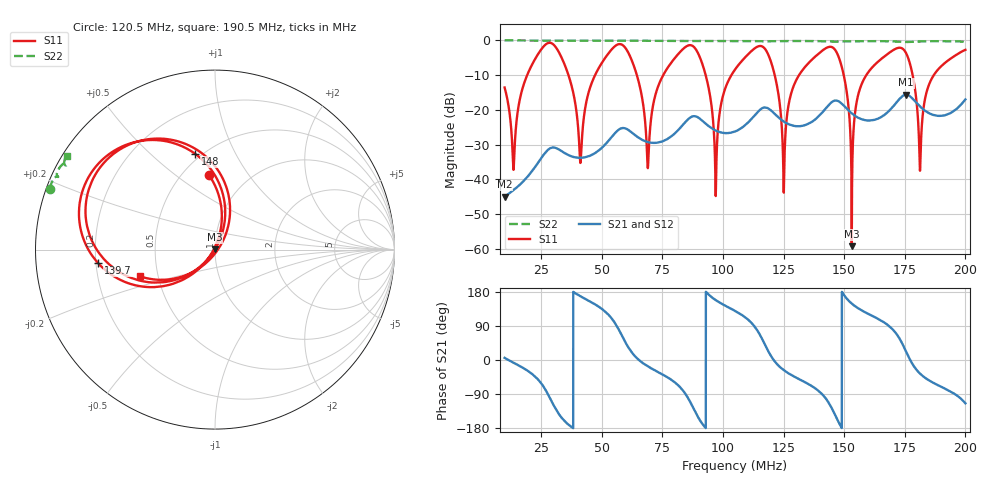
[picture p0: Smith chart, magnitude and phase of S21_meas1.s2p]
# Hz S DB R 50
! CMT, S5243, 23023023, 22.3.3/5
! Date: 6/29/2023 10:12:38 AM
! Data: Format (Calibration Info)
! Freq	S11:dB/Ang(F2)	S21:dB/Ang(F2)	S12:dB/Ang(F2)	S22:dB/Ang(F2)
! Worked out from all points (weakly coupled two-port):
!   5001 points, 10 MHz to 200 MHz, reference 50 ohm
!   highest |S21| = -15.63 dB at 175.5 MHz (marker M1); lowest = -44.9 dB at 10 MHz (marker M2)
!   lowest |S11| = -59.2 dB at 153.1 MHz (marker M3), VSWR 1.00, Z = 49.9 + j0.0922 ohm
!   |S11| at or under -10 dB: 36.34 MHz to 47.28 MHz (10.94 MHz wide, 26.2 % of centre); 64.54 MHz to 75.38 MHz (10.84 MHz wide, 15.5 % of centre); 92.91 MHz to 103.5 MHz (10.58 MHz wide, 10.8 % of centre) (the widest 3 of 7)
!   |S22| runs from -0.4 to 0.0 dB; largest |S21 - S12| = 0.0014
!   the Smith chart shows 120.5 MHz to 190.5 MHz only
!   S11 on the Smith chart (normalised r, x): 120.5 MHz: 0.66, +0.67; 139.7 MHz: 0.21, -0.06; 148 MHz: 0.46, +0.70; 190.5 MHz: 0.40, -0.15
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1e7  -13.54 104.4  -44.94 5.8  -44.96 5.8  0.01 178.2
1.3762e7  -36.65 -162.2  -43.01 -7.5  -43.05 -7.5  0.00 177.6
2.976e7  -0.95 159.7  -30.80 -113.8  -30.81 -113.6  -0.02 174.8
4.1692e7  -30.63 -136.5  -33.76 166.7  -33.77 166.7  -0.04 172.8
5.5714e7  -1.52 -172.9  -26.52 95.4  -26.56 95.5  -0.07 170.3
6.9014e7  -36.62 155.6  -29.23 -16.6  -29.21 -16.6  -0.08 168.1
7.3346e7  -13.12 -124.4  -29.36 -32.0  -29.36 -32.2  -0.08 167.3
8.8318e7  -2.05 137.9  -21.79 -133.2  -21.86 -133.0  -0.15 164.8
9.7134e7  -42.48 -163.5  -25.95 157.7  -25.98 157.5  -0.12 163.4
1.05e8  -8.37 -141.4  -26.20 129.7  -26.20 129.3  -0.13 161.9
1.14462e8  -1.72 165.0  -20.49 75.4  -20.49 74.8  -0.20 160.1
1.20466e8  -7.56 94.8  -20.52 4.4  -20.52 4.0  -0.20 159.7
1.25178e8  -41.79 -170.1  -23.35 -27.1  -23.34 -27.5  -0.15 158.8
1.36692e8  -5.54 -159.8  -23.42 -68.9  -23.38 -69.2  -0.16 156.4
1.39656e8  -3.67 -173.4  -21.72 -82.6  -21.67 -82.9  -0.19 155.8
1.48016e8  -5.26 101.8  -17.63 -168.0  -17.62 -168.4  -0.30 155.2
1.53146e8  -59.21 122.6  -20.98 148.8  -20.96 148.5  -0.20 154.4
1.68346e8  -3.66 -179.6  -20.38 90.5  -20.35 90.4  -0.23 150.8
1.75528e8  -3.62 111.7  -15.63 22.4  -15.60 22.3  -0.44 150.3
1.81342e8  -37.03 -55.7  -19.02 -36.2  -19.02 -36.2  -0.26 150.0
1.905e8  -7.10 -160.2  -21.66 -72.1  -21.68 -72.0  -0.21 147.6
2e8  -2.69 156.2  -16.97 -114.4  -17.00 -114.0  -0.38 145.0
